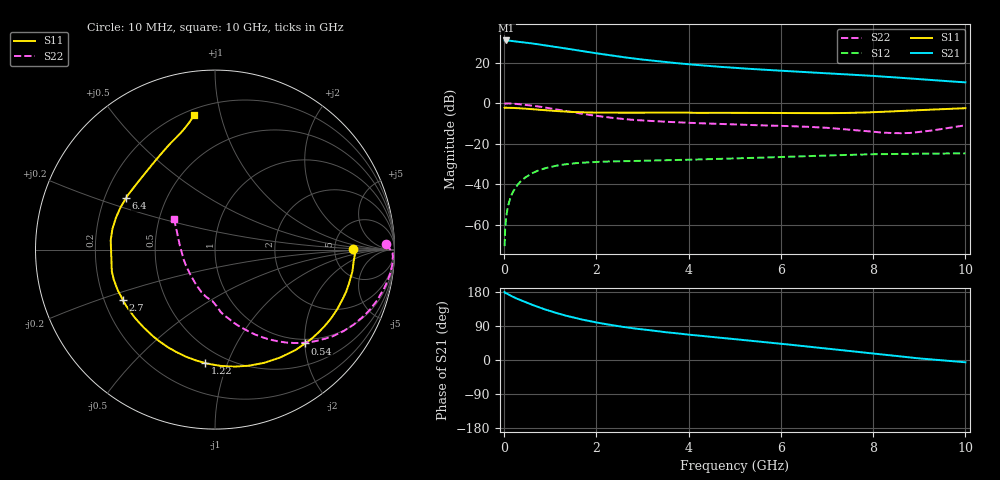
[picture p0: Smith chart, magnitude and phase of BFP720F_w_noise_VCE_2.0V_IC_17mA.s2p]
! Infineon Technologies  Discrete & RF Semiconductors
! BFP720F
! VCE =  2.0 V,  IC =  17 mA
! Common Emitter S-Parameters:  Jan 2016
# GHz  S  MA  R  50
!  f  S11  S21  S12  S22
! GHz  MAG  ANG  MAG  ANG  MAG  ANG  MAG  ANG
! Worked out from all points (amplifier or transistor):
!   233 points, 10 MHz to 10 GHz, reference 50 ohm
!   highest |S21| = 31.0 dB at 50 MHz (marker M1)
!   |S21| within 3 dB of that: start of sweep to 1.069 GHz
!   unconditionally stable (mu >= 1): start of sweep to 12.98 MHz; 5.858 GHz to end of sweep
!   at 200 MHz: K = 0.09, MSG = 37.0 dB, |S12| = -43.3 dB
!   at 1.74 GHz: K = 0.41, MSG = 27.4 dB, |S12| = -29.2 dB
!   at 10 GHz: K = 1.23, MAG = 14.6 dB, |S12| = -24.7 dB
!   lowest NFmin = 0.77 dB at 450 MHz
!   S11 on the Smith chart (normalised r, x): 10 MHz: 7.66, +0.10; 540 MHz: 0.91, -2.00; 1.22 GHz: 0.40, -0.84; 2.7 GHz: 0.28, -0.24; 6.4 GHz: 0.29, +0.25; 10 GHz: 0.24, +0.83
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0.01  0.7692 0.2  35.3 179.6  0.0003 73.3  0.9553 1.8
0.02  0.7804 -1.6  35.21 177.1  0.0007 101.6  0.9891 -1.0
0.05  0.7755 -4.6  35.38 176.1  0.0017 91.2  0.9916 -2.2
0.145  0.7711 -12.9  34.6 169.5  0.005 83.4  0.9865 -7.3
0.26  0.7606 -22.9  33.4 162.8  0.0087 78.5  0.9666 -12.9
0.4  0.7449 -34.9  31.93 155.6  0.0131 72.4  0.934 -19.6
0.54  0.7244 -46.2  30.5 148.9  0.0171 66.7  0.8957 -25.7
0.7  0.7023 -58.9  28.88 141.5  0.0211 60.8  0.8484 -32.3
0.86  0.6781 -70.8  27.26 134.6  0.0244 55.4  0.7955 -38.3
1.22  0.6346 -94.8  23.56 121.0  0.03 45.4  0.6794 -50.0
1.48  0.6111 -109.7  21.13 112.6  0.0327 39.8  0.6048 -57.0
1.68  0.5993 -119.5  19.45 107.0  0.0342 36.3  0.5548 -61.6
1.9  0.5902 -128.9  17.75 101.3  0.0354 33.1  0.5079 -66.2
2.2  0.5864 -139.1  15.79 94.7  0.0366 29.7  0.4575 -71.4
2.7  0.5849 -151.5  13.19 85.4  0.0376 26.1  0.3987 -78.0
3.4  0.5875 -162.0  10.66 75.0  0.0392 23.7  0.3551 -84.0
4  0.5875 -168.1  9.141 66.9  0.0405 22.6  0.3299 -86.7
5.1  0.5818 167.3  7.336 53.8  0.044 21.5  0.2976 -91.0
6.4  0.5729 149.8  5.991 37.8  0.0492 19.1  0.2686 -100.2
6.8  0.57 143.4  5.647 32.7  0.0508 18.0  0.2553 -105.0
8.4  0.631 115.0  4.415 11.6  0.0563 11.8  0.1848 -150.9
10  0.757 98.8  3.277 -6.0  0.0583 6.6  0.2868 143.0
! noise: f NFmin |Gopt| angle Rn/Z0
0.45  0.77  0.21  1  0.52
0.9  0.79  0.11  0  0.14
1.8  0.82  0.08  -6  0.16
2.4  0.83  0.08  -13  0.14
5.5  0.98  0.08  -18  0.1
10  1.15  0.35  -83  0.22
